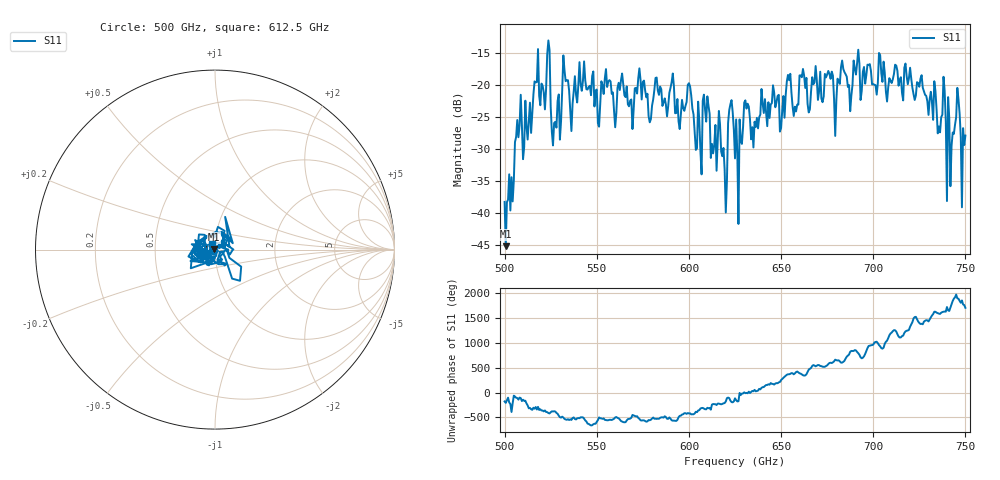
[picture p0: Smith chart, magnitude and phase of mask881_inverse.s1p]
!Created with skrf (http://scikit-rf.org).
# GHz S MA R 50.0
!freq magS11 angS11
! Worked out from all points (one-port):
!   401 points, 500 GHz to 750 GHz, reference 50 ohm
!   lowest |S11| = -45.2 dB at 500.6 GHz (marker M1), VSWR 1.01, Z = 49.5 + j0.239 ohm
!   |S11| at or under -10 dB: start of sweep to end of sweep
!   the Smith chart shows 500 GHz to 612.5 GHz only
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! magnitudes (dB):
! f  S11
! 500 GHz  -38.3
! 500.6 GHz  -45.2
! 507.5 GHz  -28.2
! 511.2 GHz  -22.5
! 516.9 GHz  -19.6
! 523.8 GHz  -13.0
! 526.9 GHz  -26.0
! 531.2 GHz  -20.8
! 562.5 GHz  -20.8
! 579.4 GHz  -25.3
! 590.6 GHz  -19.6
! 593.8 GHz  -22.2
! 600 GHz  -19.7
! 605.6 GHz  -25.6
! 609.4 GHz  -25.7
! 619.4 GHz  -33.2
! 622.5 GHz  -23.0
! 625 GHz  -31.5
! 656.2 GHz  -23.4
! 680 GHz  -22.3
! 683.8 GHz  -17.5
! 687.5 GHz  -24.1
! 690.6 GHz  -18.4
! 718.8 GHz  -19.9
! 738.1 GHz  -18.7
! 741.2 GHz  -25.2
! 745.6 GHz  -20.5
! 750 GHz  -27.9
